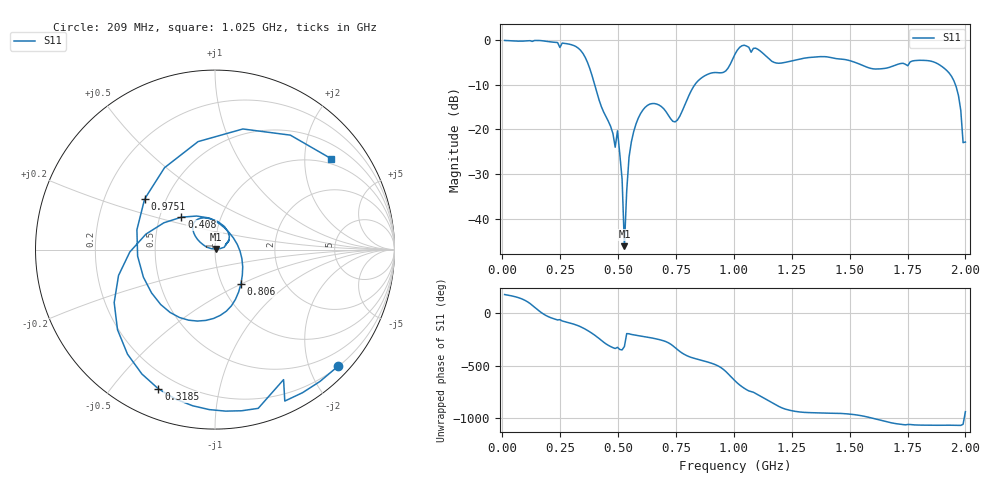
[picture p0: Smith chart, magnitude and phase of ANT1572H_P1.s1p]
!Created with skrf (http://scikit-rf.org).
# Hz S RI R 50.0
!freq ReS11 ImS11
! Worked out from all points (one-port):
!   201 points, 10 MHz to 2 GHz, reference 50 ohm
!   lowest |S11| = -46.0 dB at 527.4 MHz (marker M1), VSWR 1.01, Z = 50.4 + j0.343 ohm
!   |S11| at or under -10 dB: 398.9 MHz to 832.1 MHz (433.2 MHz wide, 70.4 % of centre); 1.957 GHz to end of sweep
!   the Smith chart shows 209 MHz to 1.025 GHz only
!   S11 on the Smith chart (normalised r, x): 209 MHz: 0.21, -2.49; 318.4 MHz: 0.13, -0.66; 408 MHz: 0.65, +0.25; 806 MHz: 1.23, -0.50; 975.1 MHz: 0.38, +0.28; 1.025 GHz: 0.85, +2.65
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1e7  -0.9781 0.0696
7.965e7  -0.7239 0.6351
1.1945e8  -0.0232 0.9749
1.5925e8  0.9189 0.3385
2.09e8  0.6854 -0.6498
2.5875e8  0.2407 -0.8845
3.1845e8  -0.3157 -0.7755
3.5825e8  -0.5617 -0.2951
4.08e8  -0.1875 0.1807
5.075e8  0.0514 0.0132
5.1745e8  0.0274 0.00519
5.274e8  0.00367 0.0034
5.473e8  -0.047 0.0138
5.871e8  -0.11 0.0754
7.5625e8  0.1235 0.0302
8.06e8  0.1446 -0.1903
9.055e8  -0.198 -0.3782
9.7515e8  -0.3921 0.282
1.005e9  0.1554 0.6721
1.0249e9  0.6455 0.5074
1.05475e9  0.8434 -0.1045
1.11445e9  0.2896 -0.688
1.17415e9  -0.4393 -0.3448
1.25375e9  -0.5126 0.2763
1.5025e9  -0.2966 0.5013
1.75125e9  0.4726 0.1978
1.93035e9  0.4076 0.1155
2e9  -0.0586 0.0425
